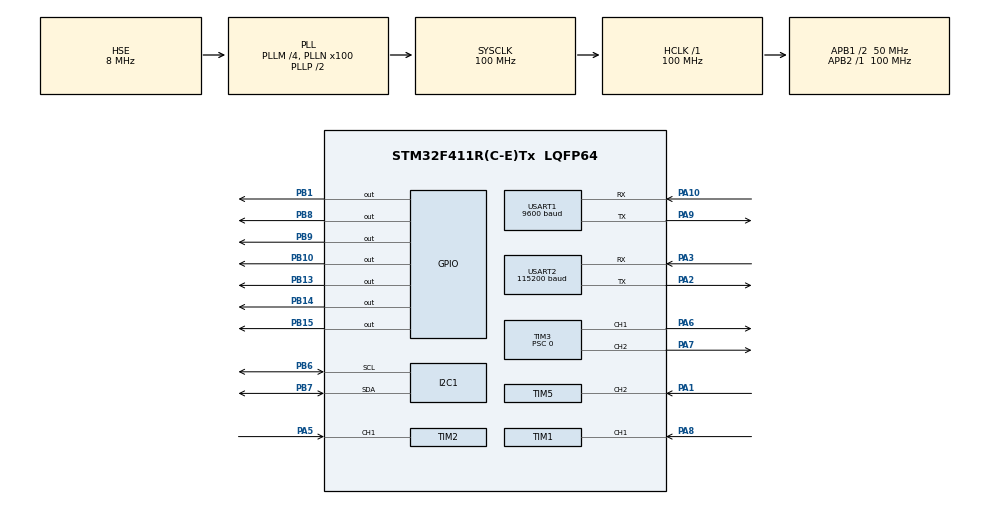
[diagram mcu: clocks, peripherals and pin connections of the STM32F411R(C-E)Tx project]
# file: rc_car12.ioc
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Dma.Request0=USART1_RX
Dma.USART1_RX.0.Direction=DMA_PERIPH_TO_MEMORY
Dma.USART1_RX.0.FIFOMode=DMA_FIFOMODE_DISABLE
Dma.USART1_RX.0.Instance=DMA2_Stream5
Dma.USART1_RX.0.MemDataAlignment=DMA_MDATAALIGN_BYTE
Dma.USART1_RX.0.MemInc=DMA_MINC_ENABLE
Dma.USART1_RX.0.Mode=DMA_NORMAL
Dma.USART1_RX.0.PeriphDataAlignment=DMA_PDATAALIGN_BYTE
Dma.USART1_RX.0.PeriphInc=DMA_PINC_DISABLE
Dma.USART1_RX.0.Priority=DMA_PRIORITY_LOW
FREERTOS.Tasks01=UltrasonicTask,24,128,StartUltrasonicTask,Default,NULL,Dynamic,NULL,NULL;MotorTask,24,128,StartMotorTask,Default,NULL,Dynamic,NULL,NULL;LcdTask,24,128,StartLcdTask,Default,NULL,Dynamic,NULL,NULL;ControlTask,24,128,StartControlTask,Default,NULL,Dynamic,NULL,NULL
FREERTOS.configUSE_NEWLIB_REENTRANT=1
Mcu.Family=STM32F4
Mcu.Name=STM32F411R(C-E)Tx
Mcu.Package=LQFP64
NVIC.DMA2_Stream5_IRQn=true\:5\:0\:false\:false\:true\:false\:false\:true\:true
NVIC.PriorityGroup=NVIC_PRIORITYGROUP_4
NVIC.TIM1_CC_IRQn=true\:5\:0\:false\:false\:true\:true\:true\:true\:true
NVIC.TIM1_UP_TIM10_IRQn=true\:15\:0\:false\:false\:true\:false\:false\:true\:true
NVIC.TIM2_IRQn=true\:5\:0\:false\:false\:true\:true\:true\:true\:true
NVIC.TIM5_IRQn=true\:5\:0\:false\:false\:true\:true\:true\:true\:true
NVIC.TimeBase=TIM1_UP_TIM10_IRQn
NVIC.TimeBaseIP=TIM10
NVIC.USART1_IRQn=true\:5\:0\:false\:false\:true\:true\:true\:true\:true
NVIC.USART2_IRQn=true\:5\:0\:false\:false\:true\:true\:true\:true\:true
PA1.Signal=S_TIM5_CH2
PA10.Mode=Asynchronous
PA10.Signal=USART1_RX
PA13.Mode=Serial_Wire
PA13.Signal=SYS_JTMS-SWDIO
PA14.Mode=Serial_Wire
PA14.Signal=SYS_JTCK-SWCLK
PA2.Mode=Asynchronous
PA2.Signal=USART2_TX
PA3.Mode=Asynchronous
PA3.Signal=USART2_RX
PA5.Signal=S_TIM2_CH1_ETR
PA6.Signal=S_TIM3_CH1
PA7.Signal=S_TIM3_CH2
PA8.Signal=S_TIM1_CH1
PA9.Mode=Asynchronous
PA9.Signal=USART1_TX
PB1.Signal=GPIO_Output
PB10.GPIO_Speed=GPIO_SPEED_FREQ_VERY_HIGH
PB10.Signal=GPIO_Output
PB13.Signal=GPIO_Output
PB14.Signal=GPIO_Output
PB15.Signal=GPIO_Output
PB6.Mode=I2C
PB6.Signal=I2C1_SCL
PB7.Mode=I2C
PB7.Signal=I2C1_SDA
PB8.GPIO_Speed=GPIO_SPEED_FREQ_VERY_HIGH
PB8.Signal=GPIO_Output
PB9.GPIO_Speed=GPIO_SPEED_FREQ_VERY_HIGH
PB9.Signal=GPIO_Output
PH0\ -\ OSC_IN.Mode=HSE-External-Oscillator
PH0\ -\ OSC_IN.Signal=RCC_OSC_IN
PH1\ -\ OSC_OUT.Mode=HSE-External-Oscillator
PH1\ -\ OSC_OUT.Signal=RCC_OSC_OUT
ProjectManager.HeapSize=0x200
ProjectManager.StackSize=0x400
ProjectManager.TargetToolchain=STM32CubeIDE
RCC.48MHZClocksFreq_Value=50000000
RCC.AHBFreq_Value=100000000
RCC.APB1CLKDivider=RCC_HCLK_DIV2
RCC.APB1Freq_Value=50000000
RCC.APB1TimFreq_Value=100000000
RCC.APB2Freq_Value=100000000
RCC.APB2TimFreq_Value=100000000
RCC.CortexFreq_Value=100000000
RCC.HCLKFreq_Value=100000000
RCC.HSE_VALUE=8000000
RCC.HSI_VALUE=16000000
RCC.LSE_VALUE=32768
RCC.PLLM=4
RCC.PLLN=100
RCC.PLLSourceVirtual=RCC_PLLSOURCE_HSE
RCC.SYSCLKFreq_VALUE=100000000
RCC.SYSCLKSource=RCC_SYSCLKSOURCE_PLLCLK
RCC.VCOOutputFreq_Value=200000000
SH.S_TIM1_CH1.0=TIM1_CH1,Input_Capture1_from_TI1
SH.S_TIM2_CH1_ETR.0=TIM2_CH1,Input_Capture1_from_TI1
SH.S_TIM3_CH1.0=TIM3_CH1,PWM Generation1 CH1
SH.S_TIM3_CH2.0=TIM3_CH2,PWM Generation2 CH2
SH.S_TIM5_CH2.0=TIM5_CH2,Input_Capture2_from_TI2
TIM1.Channel-Input_Capture1_from_TI1=TIM_CHANNEL_1
TIM1.Prescaler=100-1
TIM11.Prescaler=100-1
TIM2.Channel-Input_Capture1_from_TI1=TIM_CHANNEL_1
TIM2.Prescaler=100-1
TIM3.Channel-PWM\ Generation1\ CH1=TIM_CHANNEL_1
TIM3.Channel-PWM\ Generation2\ CH2=TIM_CHANNEL_2
TIM3.Period=5000-1
TIM3.Prescaler=0
TIM5.Channel-Input_Capture2_from_TI2=TIM_CHANNEL_2
TIM5.Prescaler=100-1
USART1.BaudRate=9600
USART1.VirtualMode=VM_ASYNC
USART2.BaudRate=115200
USART2.VirtualMode=VM_ASYNC
VP_FREERTOS_VS_CMSIS_V2.Mode=CMSIS_V2
VP_SYS_VS_tim10.Mode=TIM10
VP_TIM11_VS_ClockSourceINT.Mode=Enable_Timer
VP_TIM1_VS_ClockSourceINT.Mode=Internal
VP_TIM2_VS_ClockSourceINT.Mode=Internal
VP_TIM3_VS_ClockSourceINT.Mode=Internal
VP_TIM5_VS_ClockSourceINT.Mode=Internal
board=custom

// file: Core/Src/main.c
/* USER CODE BEGIN Header */
/**
  ******************************************************************************
  * @file           : main.c
  * @brief          : Main program body
  ******************************************************************************
  * @attention
  *
  * Copyright (c) 2025 STMicroelectronics.
  * All rights reserved.
  *
  * This software is licensed under terms that can be found in the LICENSE file
  * in the root directory of this software component.
  * If no LICENSE file comes with this software, it is provided AS-IS.
  *
  ******************************************************************************
  */
/* USER CODE END Header */
#include "main.h"
#include "cmsis_os.h"
#include "dma.h"
#include "i2c.h"
#include "tim.h"
#include "usart.h"
#include "gpio.h"

/* USER CODE BEGIN Includes */
#include <stdint.h>
#include <stdio.h>
#include <string.h>
#include "motor.h"
#include <math.h>
#include <stdlib.h>
#include "delay.h"
#include "ultrasonic.h"
#include "i2c_lcd.h"

/* USER CODE END Includes */

/* USER CODE BEGIN PD */

#define RX_BUF_SIZE 2
extern DMA_HandleTypeDef hdma_usart1_rx;

/* USER CODE END PD */

/* USER CODE BEGIN PM */

#ifdef __GNUC__
/* With GCC small printf (option LD Linker->Libraries->Small printf
 * set to 'Yes') calls __io_putchar() */
#define PUTCHAR_PROTOTYPE int  __io_putchar(int ch)
#else
#define PUTCHAR_PROTOTYPE int  fputc(int ch, FILE *f)
#endif /* __GNUC__*/

/** @brief Retargets the C library printf function to the USART.
 *  @param None
 *  @retval None
 */
PUTCHAR_PROTOTYPE
{
  /* Place your implementation of fputc here */
  /* e.g. write a character to the USART2 and Loop
     until the end of transmission */
  if(ch == '\n')
    HAL_UART_Transmit(&huart2, (uint8_t*) "\r", 1, 0xFFFF);
   HAL_UART_Transmit(&huart2, (uint8_t*) &ch, 1, 0xFFFF);
}

/* USER CODE END PM */

void SystemClock_Config(void);
void MX_FREERTOS_Init(void);

/* USER CODE BEGIN 0 */

uint8_t rx_buffer[RX_BUF_SIZE];
volatile uint8_t manual_override = 0;
volatile uint32_t last_manual_time = 0;

/* USER CODE END 0 */

int main(void)
{

  /* MCU Configuration--------------------------------------------------------*/

  /* Reset of all peripherals, Initializes the Flash interface and the Systick. */
  HAL_Init();

  /* Configure the system clock */
  SystemClock_Config();

  /* Initialize all configured peripherals */
  MX_GPIO_Init();
  MX_DMA_Init();
  MX_TIM3_Init();
  MX_USART1_UART_Init();
  MX_TIM1_Init();
  MX_TIM11_Init();
  MX_USART2_UART_Init();
  MX_TIM2_Init();
  MX_I2C1_Init();
  MX_TIM5_Init();
  /* USER CODE BEGIN 2 */

  // LCD 초기화
  //i2c_lcd_init();

  Motor_Init();

  //HAL_UART_Receive_IT(&huart1, (uint8_t*)uart_rx, 2);
  HAL_TIM_Base_Start(&htim1);
  HAL_TIM_Base_Start(&htim2);
  HAL_TIM_Base_Start(&htim5);
  HAL_TIM_Base_Start(&htim11);  //  이게 반드시 필요

  HAL_TIM_IC_Start_IT(&htim1, TIM_CHANNEL_1);
  HAL_TIM_IC_Start_IT(&htim2, TIM_CHANNEL_1);
  HAL_TIM_IC_Start_IT(&htim5, TIM_CHANNEL_2);

  //DMA

  HAL_UARTEx_ReceiveToIdle_DMA(&huart1, rx_buffer, RX_BUF_SIZE);
  __HAL_DMA_DISABLE_IT(&hdma_usart1_rx, DMA_IT_HT);  // Half Transfer Interrupt OFF

  /* USER CODE END 2 */

  /* Init scheduler */
  osKernelInitialize();

  /* Call init function for freertos objects (in cmsis_os2.c) */
  MX_FREERTOS_Init();

  /* Start scheduler */
  osKernelStart();

  /* We should never get here as control is now taken by the scheduler */

  /* Infinite loop */
  while (1)
  {

  }
}

void SystemClock_Config(void)
{
  RCC_OscInitTypeDef RCC_OscInitStruct = {0};
  RCC_ClkInitTypeDef RCC_ClkInitStruct = {0};

  /** Configure the main internal regulator output voltage
  */
  __HAL_RCC_PWR_CLK_ENABLE();
  __HAL_PWR_VOLTAGESCALING_CONFIG(PWR_REGULATOR_VOLTAGE_SCALE1);

  /** Initializes the RCC Oscillators according to the specified parameters
  * in the RCC_OscInitTypeDef structure.
  */
  RCC_OscInitStruct.OscillatorType = RCC_OSCILLATORTYPE_HSE;
  RCC_OscInitStruct.HSEState = RCC_HSE_ON;
  RCC_OscInitStruct.PLL.PLLState = RCC_PLL_ON;
  RCC_OscInitStruct.PLL.PLLSource = RCC_PLLSOURCE_HSE;
  RCC_OscInitStruct.PLL.PLLM = 4;
  RCC_OscInitStruct.PLL.PLLN = 100;
  RCC_OscInitStruct.PLL.PLLP = RCC_PLLP_DIV2;
  RCC_OscInitStruct.PLL.PLLQ = 4;
  if (HAL_RCC_OscConfig(&RCC_OscInitStruct) != HAL_OK)
  {
    Error_Handler();
  }

  /** Initializes the CPU, AHB and APB buses clocks
  */
  RCC_ClkInitStruct.ClockType = RCC_CLOCKTYPE_HCLK|RCC_CLOCKTYPE_SYSCLK
                              |RCC_CLOCKTYPE_PCLK1|RCC_CLOCKTYPE_PCLK2;
  RCC_ClkInitStruct.SYSCLKSource = RCC_SYSCLKSOURCE_PLLCLK;
  RCC_ClkInitStruct.AHBCLKDivider = RCC_SYSCLK_DIV1;
  RCC_ClkInitStruct.APB1CLKDivider = RCC_HCLK_DIV2;
  RCC_ClkInitStruct.APB2CLKDivider = RCC_HCLK_DIV1;

  if (HAL_RCC_ClockConfig(&RCC_ClkInitStruct, FLASH_LATENCY_3) != HAL_OK)
  {
    Error_Handler();
  }
}

/* USER CODE BEGIN 4 */

void HAL_UARTEx_RxEventCallback(UART_HandleTypeDef *huart, uint16_t Size)
{
  if (huart->Instance == USART1)
  {
      if (Size > 0)
      {
          char dir = rx_buffer[0];

          manual_override = 1;
          last_manual_time = HAL_GetTick();

          Set_Direction(dir);

          if (dir == 'S')
            {
              Set_Speed(0);
            }
          else
            {
              Set_Speed(88);
            }
          Set_Direction(dir);  // 한 번만 호출

      HAL_UARTEx_ReceiveToIdle_DMA(&huart1, rx_buffer, RX_BUF_SIZE);
      __HAL_DMA_DISABLE_IT(&hdma_usart1_rx, DMA_IT_HT);
      }
  }
}

/* USER CODE END 4 */

void HAL_TIM_PeriodElapsedCallback(TIM_HandleTypeDef *htim)
{
  if (htim->Instance == TIM10)
  {
    HAL_IncTick();
  }
}

void Error_Handler(void)
{
  __disable_irq();
  while (1)
  {
  }
}

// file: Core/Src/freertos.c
/* USER CODE BEGIN Header */
/**
  ******************************************************************************
  * File Name          : freertos.c
  * Description        : Code for freertos applications
  ******************************************************************************
  * @attention
  *
  * Copyright (c) 2025 STMicroelectronics.
  * All rights reserved.
  *
  * This software is licensed under terms that can be found in the LICENSE file
  * in the root directory of this software component.
  * If no LICENSE file comes with this software, it is provided AS-IS.
  *
  ******************************************************************************
  */
/* USER CODE END Header */

#include "FreeRTOS.h"
#include "task.h"
#include "main.h"
#include "cmsis_os.h"

/* USER CODE BEGIN Includes */

#include "ultrasonic.h"
#include "motor.h"
#include <stdio.h>
#include <string.h>
#include <stdlib.h>
#include "i2c.h"
#include "i2c_lcd.h"
/* USER CODE END Includes */

/* USER CODE BEGIN PTD */

#define FRONT_SAFE_CM 25  // 앞에 이 거리 이하로 오면 회피
#define SIDE_SAFE_CM  20  // 좌우 회피 판단 기준

/* USER CODE END PTD */

/* USER CODE BEGIN Variables */

  extern volatile uint8_t manual_override;
  extern volatile uint32_t last_manual_time;
  volatile char last_turn_dir = 0;

/* USER CODE END Variables */
/* Definitions for UltrasonicTask */
osThreadId_t UltrasonicTaskHandle;
const osThreadAttr_t UltrasonicTask_attributes = {
  .name = "UltrasonicTask",
  .stack_size = 128 * 4,
  .priority = (osPriority_t) osPriorityNormal,
};
/* Definitions for MotorTask */
osThreadId_t MotorTaskHandle;
const osThreadAttr_t MotorTask_attributes = {
  .name = "MotorTask",
  .stack_size = 128 * 4,
  .priority = (osPriority_t) osPriorityNormal,
};
/* Definitions for LcdTask */
osThreadId_t LcdTaskHandle;
const osThreadAttr_t LcdTask_attributes = {
  .name = "LcdTask",
  .stack_size = 128 * 4,
  .priority = (osPriority_t) osPriorityNormal,
};
/* Definitions for ControlTask */
osThreadId_t ControlTaskHandle;
const osThreadAttr_t ControlTask_attributes = {
  .name = "ControlTask",
  .stack_size = 128 * 4,
  .priority = (osPriority_t) osPriorityNormal,
};

void StartUltrasonicTask(void *argument);
void StartMotorTask(void *argument);
void StartLcdTask(void *argument);
void StartControlTask(void *argument);

void MX_FREERTOS_Init(void); /* (MISRA C 2004 rule 8.1) */

void MX_FREERTOS_Init(void) {
  /* USER CODE BEGIN Init */

    /* Create the thread(s) */
    osThreadAttr_t ultrasonicTask_attributes = {
      .name = "ultrasonicTask",
      .priority = (osPriority_t) osPriorityNormal,
      .stack_size = 256 * 4
    };
    osThreadNew(StartUltrasonicTask, NULL, &ultrasonicTask_attributes);

    osThreadAttr_t controlTask_attributes = {
      .name = "controlTask",
      .priority = (osPriority_t) osPriorityAboveNormal,
      .stack_size = 128 * 4
    };
    osThreadNew(StartControlTask, NULL, &controlTask_attributes);

  /* USER CODE END Init */

  /* Create the thread(s) */
  /* creation of UltrasonicTask */
  UltrasonicTaskHandle = osThreadNew(StartUltrasonicTask, NULL, &UltrasonicTask_attributes);

  /* creation of MotorTask */
  MotorTaskHandle = osThreadNew(StartMotorTask, NULL, &MotorTask_attributes);

  /* creation of LcdTask */
  LcdTaskHandle = osThreadNew(StartLcdTask, NULL, &LcdTask_attributes);

  /* creation of ControlTask */
  ControlTaskHandle = osThreadNew(StartControlTask, NULL, &ControlTask_attributes);

}

void StartUltrasonicTask(void *argument)
{
  /* USER CODE BEGIN StartUltrasonicTask */

  uint8_t current_sensor = 0;

  /* Infinite loop */
  for (;;)
  {
      TriggerSensor(&sensors[current_sensor]);
      current_sensor = (current_sensor + 1) % NUM_SENSORS;

      osDelay(40);  // 간섭 방지용 딜레이

      printf("Distances: L:%dcm, F:%dcm, R:%dcm\n",
             GetDistance(0), GetDistance(1), GetDistance(2));
  }
  /* USER CODE END StartUltrasonicTask */
}

void StartMotorTask(void *argument)
{
  /* USER CODE BEGIN StartMotorTask */

  extern void Set_Direction(char dir);  // 'F', 'B', 'L', 'R'
  extern void Set_Speed(int speed_percent); // 0~100%
  //extern volatile uint8_t manual_override;
  //i2c_lcd_init();       // LCD 초기화
  /* Infinite loop */
  for(;;)
  {
      //char line1[17];
      //char line2[17];

      //i2c_lcd_init();       // LCD 초기화
      //sprintf(line1, "Mode: %s", manual_override ? "Manual" : "Auto");
      // 수동 제어 중이면 자율주행 정지
      if (manual_override)
	{
	  // 수동 제어 유지 시간 설정 (예: 3000ms)
	  if (HAL_GetTick() - last_manual_time > 5000)
	    {
	      manual_override = 0;
	    }
	  osDelay(40);
	  continue;
	}

      uint8_t left  = GetDistance(0);
      uint8_t front = GetDistance(1);
      uint8_t right = GetDistance(2);

      //  벽에 너무 가까울 때 반대 방향으로 약간 회피
      if (left <= 11)
	{
	  Set_Direction('R');
	  //sprintf(line2, "Drive: Right   ");
	  osDelay(30);
	}
      else if (right <= 11)
	{
	  Set_Direction('L');
	  //sprintf(line2, "Drive: Left    ");
	  osDelay(30);
	}

      if (front < 28)
      {
          // 기존 회피 알고리즘 그대로
          int diff = abs((int)left - (int)right);

          if (diff <= 4)
          {
              if (left < right)
        	{
                  Set_Direction('L');  // 좁은 쪽으로 탈출
                  //sprintf(line2, "Drive: Left    ");
        	}
              else
        	{
                  Set_Direction('R');
                  //sprintf(line2, "Drive: Right   ");
        	}
          }
          else
          {
              if (left < 18 && right < 18)
        	{
                  Set_Direction('B');
        	}
              else if (left > right)
        	{
                  Set_Direction('L');
        	}
              else
        	{
                  Set_Direction('R');
        	}
          }
      }
      else
      {
          // 정상 직진
          Set_Direction('F');
      }
      Set_Speed(84);
      osDelay(30);  // 주기*/

  }

  /* USER CODE END StartMotorTask */
}

void StartLcdTask(void *argument)
{
  /* USER CODE BEGIN StartLcdTask */

  extern volatile uint8_t manual_override;
  extern char current_direction;  // 방향 상태를 외부에서 접근 가능하게

  char line1[17];
  char line2[17];

  i2c_lcd_init();  // ❗ 여기서 딱 한 번만 호출

  for(;;)
  {
      sprintf(line1, "Mode: %-10s", manual_override ? "Manual" : "Auto");

       char dir_snapshot = current_direction;

       if (dir_snapshot == 'F' || dir_snapshot == 'Z')
           sprintf(line2, "Drive: Forward ");
       else if (dir_snapshot == 'B')
           sprintf(line2, "Drive: Backward");
       else if (dir_snapshot == 'L')
           sprintf(line2, "Drive: Left    ");
       else if (dir_snapshot == 'R')
           sprintf(line2, "Drive: Right   ");
       else
           sprintf(line2, "Drive: Stop    ");

       move_cursor(0, 0);
       lcd_string(line1);

       move_cursor(1, 0);
       lcd_string(line2);

       osDelay(500);

  }

  /* USER CODE END StartLcdTask */
}

void StartControlTask(void *argument)
{
  for(;;)
  {
    osDelay(1);
  }
}
